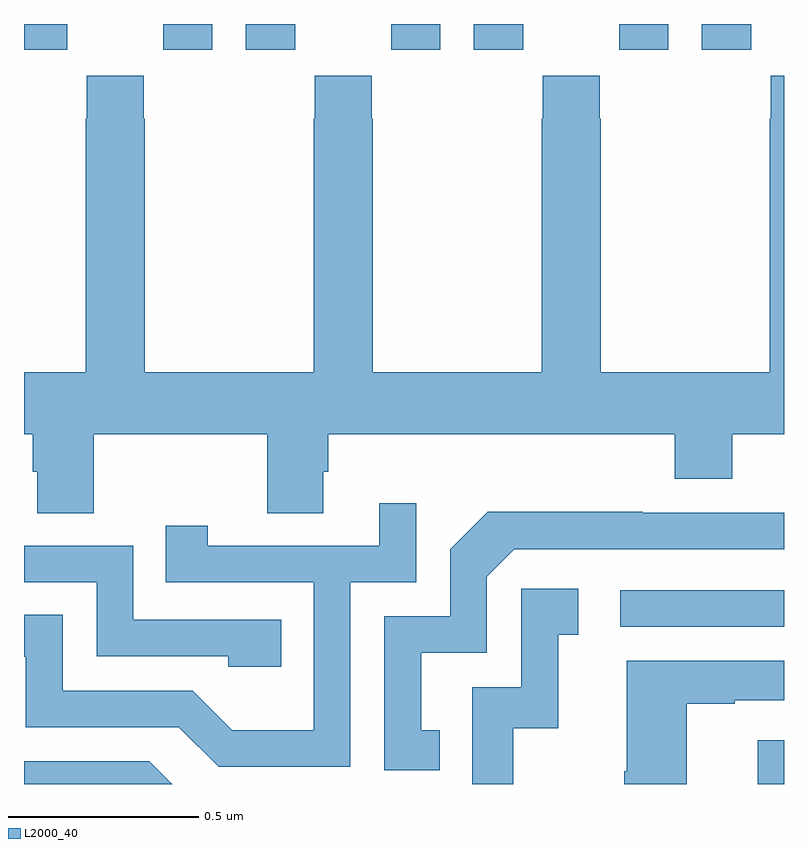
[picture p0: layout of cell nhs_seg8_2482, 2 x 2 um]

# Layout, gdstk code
import gdstk
lib = gdstk.Library(unit=1e-6, precision=1e-09)
def R(c, l, rs):  # rectangles x0, y0, x1, y1
    for r in rs: c.add(gdstk.rectangle(r[:2], r[2:], *l))
def P(c, l, *ps):  # polygons
    for p in ps: c.add(gdstk.Polygon(p, *l))
L2000_40 = (2000, 40)

nhs_seg8_2482 = lib.new_cell('nhs_seg8_2482')
R(nhs_seg8_2482, L2000_40, [(145.931,1128.9,146,1129.015), (145.569,1129.314,146,1129.41), (144,1130.832,144.114,1130.9), (144.366,1130.832,144.496,1130.9), (144.584,1130.832,144.714,1130.9), (144.966,1130.832,145.096,1130.9), (145.184,1130.832,145.314,1130.9), (145.566,1130.832,145.696,1130.9), (145.784,1130.832,145.914,1130.9)])
P(nhs_seg8_2482, L2000_40, [(144.183,1129.82),(144.64,1129.82),(144.64,1129.612),(144.787,1129.612),(144.787,1129.722),(144.8,1129.722),(144.8,1129.82),(145.712,1129.82),(145.712,1129.703),(145.864,1129.703),(145.864,1129.82),(146,1129.82),(146,1130.764),(145.965,1130.764),(145.965,1130.651),(145.963,1130.651),(145.963,1129.984),(145.518,1129.984),(145.518,1130.651),(145.515,1130.651),(145.515,1130.764),(145.365,1130.764),(145.365,1130.651),(145.363,1130.651),(145.363,1129.984),(144.918,1129.984),(144.918,1130.651),(144.915,1130.651),(144.915,1130.764),(144.765,1130.764),(144.765,1130.651),(144.763,1130.651),(144.763,1129.984),(144.318,1129.984),(144.318,1130.651),(144.315,1130.651),(144.315,1130.764),(144.165,1130.764),(144.165,1130.651),(144.163,1130.651),(144.163,1129.984),(144,1129.984),(144,1129.82),(144.023,1129.82),(144.023,1129.722),(144.035,1129.722),(144.035,1129.612),(144.183,1129.612)],
  [(144.858,1129.431),(145.032,1129.431),(145.032,1129.639),(144.935,1129.639),(144.935,1129.527),(144.484,1129.527),(144.484,1129.579),(144.373,1129.579),(144.373,1129.431),(144.762,1129.431),(144.762,1129.042),(144.548,1129.042),(144.444,1129.146),(144.102,1129.146),(144.102,1129.345),(144,1129.345),(144,1129.235),(144.004,1129.235),(144.004,1129.05),(144.407,1129.05),(144.512,1128.945),(144.858,1128.945)],
  [(145.094,1129.041),(145.045,1129.041),(145.045,1129.245),(145.218,1129.245),(145.218,1129.446),(145.29,1129.518),(146,1129.518),(146,1129.614),(145.628,1129.614),(145.628,1129.616),(145.22,1129.616),(145.122,1129.518),(145.122,1129.341),(144.948,1129.341),(144.948,1128.936),(145.094,1128.936)],
  [(144.677,1129.332),(144.288,1129.332),(144.288,1129.527),(144,1129.527),(144,1129.431),(144.192,1129.431),(144.192,1129.236),(144.537,1129.236),(144.537,1129.209),(144.677,1129.209)],
  [(145.288,1129.047),(145.406,1129.047),(145.406,1129.293),(145.459,1129.293),(145.459,1129.414),(145.308,1129.414),(145.308,1129.155),(145.179,1129.155),(145.179,1128.9),(145.288,1128.9)],
  [(145.744,1129.111),(145.871,1129.111),(145.871,1129.121),(146,1129.121),(146,1129.225),(145.586,1129.225),(145.586,1128.934),(145.579,1128.934),(145.579,1128.9),(145.744,1128.9)],
  [(144.33,1128.96),(144,1128.96),(144,1128.9),(144.39,1128.9)])

lib.write_gds('nhs_seg8_2482.gds')
